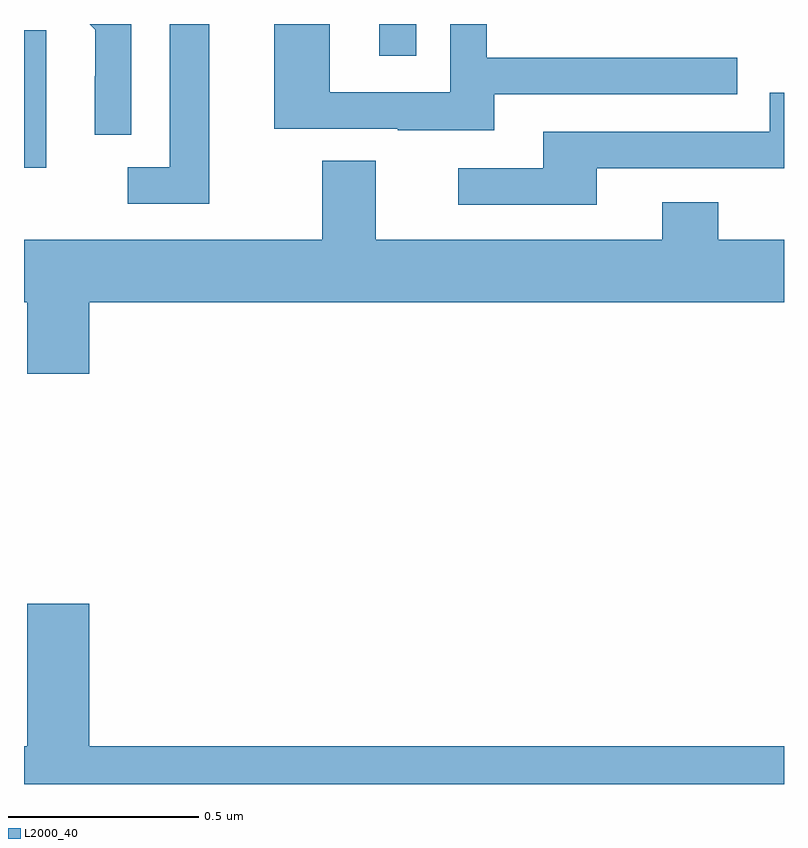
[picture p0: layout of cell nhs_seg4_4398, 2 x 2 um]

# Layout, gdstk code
import gdstk
lib = gdstk.Library(unit=1e-6, precision=1e-09)
def R(c, l, rs):  # rectangles x0, y0, x1, y1
    for r in rs: c.add(gdstk.rectangle(r[:2], r[2:], *l))
def P(c, l, *ps):  # polygons
    for p in ps: c.add(gdstk.Polygon(p, *l))
L2000_40 = (2000, 40)

nhs_seg4_4398 = lib.new_cell('nhs_seg4_4398')
R(nhs_seg4_4398, L2000_40, [(165,782.522,165.058,782.883), (165.935,782.817,166.032,782.9)])
P(nhs_seg4_4398, L2000_40, [(166.237,782.715),(166.877,782.715),(166.877,782.811),(166.218,782.811),(166.218,782.9),(166.122,782.9),(166.122,782.721),(165.804,782.721),(165.804,782.9),(165.659,782.9),(165.659,782.625),(165.983,782.625),(165.983,782.621),(166.237,782.621)],
  [(165.282,782.9),(165.173,782.9),(165.188,782.885),(165.188,782.762),(165.186,782.762),(165.186,782.608),(165.282,782.608)],
  [(165.487,782.9),(165.383,782.9),(165.383,782.523),(165.273,782.523),(165.273,782.427),(165.487,782.427)],
  [(166.507,782.52),(167,782.52),(167,782.719),(166.962,782.719),(166.962,782.616),(166.367,782.616),(166.367,782.52),(166.143,782.52),(166.143,782.424),(166.507,782.424)],
  [(165.172,782.168),(167,782.168),(167,782.332),(166.827,782.332),(166.827,782.431),(166.679,782.431),(166.679,782.332),(165.925,782.332),(165.925,782.54),(165.785,782.54),(165.785,782.332),(165,782.332),(165,782.168),(165.008,782.168),(165.008,781.98),(165.172,781.98)],
  [(167,781),(165.172,781),(165.172,781.375),(165.008,781.375),(165.008,781),(165,781),(165,780.9),(167,780.9)])

lib.write_gds('nhs_seg4_4398.gds')
